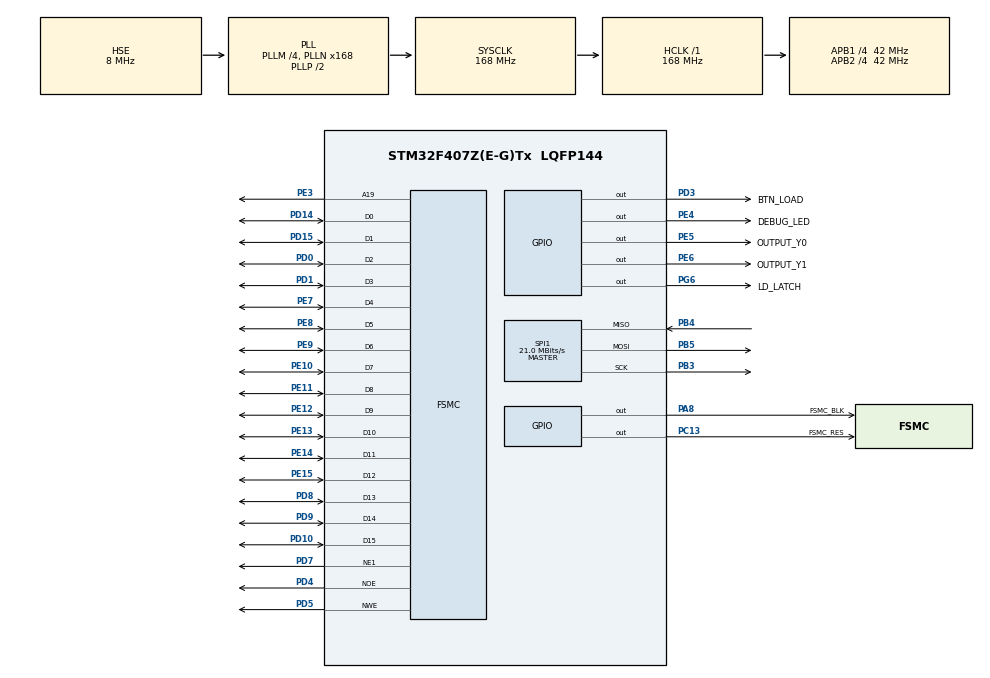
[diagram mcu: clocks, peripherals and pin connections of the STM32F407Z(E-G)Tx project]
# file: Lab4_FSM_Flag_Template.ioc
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FSMC.AddressSetupTime1=0xf
FSMC.BusTurnAroundDuration1=0
FSMC.DataSetupTime1=60
FSMC.ExtendedAddressSetupTime1=9
FSMC.ExtendedBusTurnAroundDuration1=0
FSMC.ExtendedDataSetupTime1=8
FSMC.ExtendedMode1=FSMC_EXTENDED_MODE_ENABLE
Mcu.Family=STM32F4
Mcu.Name=STM32F407Z(E-G)Tx
Mcu.Package=LQFP144
NVIC.PriorityGroup=NVIC_PRIORITYGROUP_4
NVIC.TIM2_IRQn=true\:0\:0\:false\:false\:true\:true\:true\:true
NVIC.TIM4_IRQn=true\:0\:0\:false\:false\:true\:true\:true\:true
PA13.Mode=Serial_Wire
PA13.Signal=SYS_JTMS-SWDIO
PA14.Mode=Serial_Wire
PA14.Signal=SYS_JTCK-SWCLK
PA8.GPIO_Label=FSMC_BLK
PA8.Signal=GPIO_Output
PB3.Mode=Full_Duplex_Master
PB3.Signal=SPI1_SCK
PB4.Mode=Full_Duplex_Master
PB4.Signal=SPI1_MISO
PB5.Mode=Full_Duplex_Master
PB5.Signal=SPI1_MOSI
PC13-ANTI_TAMP.GPIO_Label=FSMC_RES
PC13-ANTI_TAMP.Signal=GPIO_Output
PD0.Signal=FSMC_D2_DA2
PD1.Signal=FSMC_D3_DA3
PD10.Signal=FSMC_D15_DA15
PD14.Signal=FSMC_D0_DA0
PD15.Signal=FSMC_D1_DA1
PD3.GPIO_Label=BTN_LOAD
PD3.Signal=GPIO_Output
PD4.Signal=FSMC_NOE
PD5.Signal=FSMC_NWE
PD7.Mode=NorPsramChipSelect1_1
PD7.Signal=FSMC_NE1
PD8.Signal=FSMC_D13_DA13
PD9.Signal=FSMC_D14_DA14
PE10.Signal=FSMC_D7_DA7
PE11.Signal=FSMC_D8_DA8
PE12.Signal=FSMC_D9_DA9
PE13.Signal=FSMC_D10_DA10
PE14.Signal=FSMC_D11_DA11
PE15.Signal=FSMC_D12_DA12
PE3.Signal=FSMC_A19
PE4.GPIO_Label=DEBUG_LED
PE4.Signal=GPIO_Output
PE5.GPIO_Label=OUTPUT_Y0
PE5.Signal=GPIO_Output
PE6.GPIO_Label=OUTPUT_Y1
PE6.Signal=GPIO_Output
PE7.Signal=FSMC_D4_DA4
PE8.Signal=FSMC_D5_DA5
PE9.Signal=FSMC_D6_DA6
PG6.GPIO_Label=LD_LATCH
PG6.Signal=GPIO_Output
PH0-OSC_IN.Mode=HSE-External-Oscillator
PH0-OSC_IN.Signal=RCC_OSC_IN
PH1-OSC_OUT.Mode=HSE-External-Oscillator
PH1-OSC_OUT.Signal=RCC_OSC_OUT
ProjectManager.HeapSize=0x200
ProjectManager.StackSize=0x400
ProjectManager.TargetToolchain=STM32CubeIDE
RCC.48MHZClocksFreq_Value=84000000
RCC.AHBFreq_Value=168000000
RCC.APB1CLKDivider=RCC_HCLK_DIV4
RCC.APB1Freq_Value=42000000
RCC.APB1TimFreq_Value=84000000
RCC.APB2CLKDivider=RCC_HCLK_DIV4
RCC.APB2Freq_Value=42000000
RCC.APB2TimFreq_Value=84000000
RCC.CortexFreq_Value=168000000
RCC.HCLKFreq_Value=168000000
RCC.HSE_VALUE=8000000
RCC.HSI_VALUE=16000000
RCC.LSE_VALUE=32768
RCC.PLLM=4
RCC.PLLN=168
RCC.PLLSourceVirtual=RCC_PLLSOURCE_HSE
RCC.SYSCLKFreq_VALUE=168000000
RCC.SYSCLKSource=RCC_SYSCLKSOURCE_PLLCLK
RCC.VCOOutputFreq_Value=336000000
SH.FSMC_A19.0=FSMC_A19,A19_1
SH.FSMC_D0_DA0.0=FSMC_D0,16b-d1
SH.FSMC_D10_DA10.0=FSMC_D10,16b-d1
SH.FSMC_D11_DA11.0=FSMC_D11,16b-d1
SH.FSMC_D12_DA12.0=FSMC_D12,16b-d1
SH.FSMC_D13_DA13.0=FSMC_D13,16b-d1
SH.FSMC_D14_DA14.0=FSMC_D14,16b-d1
SH.FSMC_D15_DA15.0=FSMC_D15,16b-d1
SH.FSMC_D1_DA1.0=FSMC_D1,16b-d1
SH.FSMC_D2_DA2.0=FSMC_D2,16b-d1
SH.FSMC_D3_DA3.0=FSMC_D3,16b-d1
SH.FSMC_D4_DA4.0=FSMC_D4,16b-d1
SH.FSMC_D5_DA5.0=FSMC_D5,16b-d1
SH.FSMC_D6_DA6.0=FSMC_D6,16b-d1
SH.FSMC_D7_DA7.0=FSMC_D7,16b-d1
SH.FSMC_D8_DA8.0=FSMC_D8,16b-d1
SH.FSMC_D9_DA9.0=FSMC_D9,16b-d1
SH.FSMC_NOE.0=FSMC_NOE,Lcd1
SH.FSMC_NWE.0=FSMC_NWE,Lcd1
SPI1.CalculateBaudRate=21.0 MBits/s
SPI1.Direction=SPI_DIRECTION_2LINES
SPI1.Mode=SPI_MODE_MASTER
SPI1.VirtualType=VM_MASTER
TIM2.Period=100-1
TIM2.Prescaler=840-1
TIM4.Period=100-1
TIM4.Prescaler=840-1
VP_TIM2_VS_ClockSourceINT.Mode=Internal
VP_TIM4_VS_ClockSourceINT.Mode=Internal
board=custom

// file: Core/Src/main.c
/* USER CODE BEGIN Header */
/**
 ******************************************************************************
 * @file           : main.c
 * @brief          : Main program body
 ******************************************************************************
 * @attention
 *
 * <h2><center>&copy; Copyright (c) 2023 STMicroelectronics.
 * All rights reserved.</center></h2>
 *
 * This software component is licensed by ST under BSD 3-Clause license,
 * the "License"; You may not use this file except in compliance with the
 * License. You may obtain a copy of the License at:
 *                        opensource.org/licenses/BSD-3-Clause
 *
 ******************************************************************************
 */
/* USER CODE END Header */
#include "main.h"
#include "spi.h"
#include "tim.h"
#include "gpio.h"
#include "fsmc.h"

/* USER CODE BEGIN Includes */
#include "software_timer.h"
#include "button.h"
#include "lcd.h"
#include "picture.h"
/* USER CODE END Includes */

/* USER CODE BEGIN PD */
#define	INIT_SYSTEM     0
#define	MOVING_UP       1
#define	MOVING_DOWN     2
#define	STOP_MOVING     3
#define	TOP_POSITION    4
#define	BOTTOM_POSITION 5

#define TOP_POSITION_OF_FLAG 	100
#define BOTTOM_POSITION_OF_FLAG 200
/* USER CODE END PD */

/* USER CODE BEGIN PV */
uint8_t statusFlag = INIT_SYSTEM;
uint16_t flag_position = BOTTOM_POSITION_OF_FLAG;
/* USER CODE END PV */

void SystemClock_Config(void);
/* USER CODE BEGIN PFP */
void init_system();

uint8_t IsButtonUp();
uint8_t IsButtonDown();
uint8_t IsButtonStop();
uint8_t IsBottomSwitch();
uint8_t IsTopSwitch();
void FlagMovingDown();
void FlagMovingUp();
void FlagStopMoving();
void BaiTapFlag();
/* USER CODE END PFP */

int main(void) {

	/* MCU Configuration--------------------------------------------------------*/

	/* Reset of all peripherals, Initializes the Flash interface and the Systick. */
	HAL_Init();

	/* Configure the system clock */
	SystemClock_Config();

	/* Initialize all configured peripherals */
	MX_GPIO_Init();
	MX_TIM2_Init();
	MX_SPI1_Init();
	MX_FSMC_Init();
	MX_TIM4_Init();
	/* USER CODE BEGIN 2 */
	init_system();
	/* USER CODE END 2 */

	/* Infinite loop */
	/* USER CODE BEGIN WHILE */
	while (1) {
		while (timer2_flag == 0)
			;
		timer2_flag = 0;

		// INPUT
		button_scan();

		// PROCESS
		BaiTapFlag();

		// OUTPPUT

		/* USER CODE END WHILE */

	}
}

void SystemClock_Config(void) {
	RCC_OscInitTypeDef RCC_OscInitStruct = { 0 };
	RCC_ClkInitTypeDef RCC_ClkInitStruct = { 0 };

	/** Configure the main internal regulator output voltage
	 */
	__HAL_RCC_PWR_CLK_ENABLE();
	__HAL_PWR_VOLTAGESCALING_CONFIG(PWR_REGULATOR_VOLTAGE_SCALE1);

	/** Initializes the RCC Oscillators according to the specified parameters
	 * in the RCC_OscInitTypeDef structure.
	 */
	RCC_OscInitStruct.OscillatorType = RCC_OSCILLATORTYPE_HSE;
	RCC_OscInitStruct.HSEState = RCC_HSE_ON;
	RCC_OscInitStruct.PLL.PLLState = RCC_PLL_ON;
	RCC_OscInitStruct.PLL.PLLSource = RCC_PLLSOURCE_HSE;
	RCC_OscInitStruct.PLL.PLLM = 4;
	RCC_OscInitStruct.PLL.PLLN = 168;
	RCC_OscInitStruct.PLL.PLLP = RCC_PLLP_DIV2;
	RCC_OscInitStruct.PLL.PLLQ = 4;
	if (HAL_RCC_OscConfig(&RCC_OscInitStruct) != HAL_OK) {
		Error_Handler();
	}

	/** Initializes the CPU, AHB and APB buses clocks
	 */
	RCC_ClkInitStruct.ClockType = RCC_CLOCKTYPE_HCLK | RCC_CLOCKTYPE_SYSCLK
			| RCC_CLOCKTYPE_PCLK1 | RCC_CLOCKTYPE_PCLK2;
	RCC_ClkInitStruct.SYSCLKSource = RCC_SYSCLKSOURCE_PLLCLK;
	RCC_ClkInitStruct.AHBCLKDivider = RCC_SYSCLK_DIV1;
	RCC_ClkInitStruct.APB1CLKDivider = RCC_HCLK_DIV4;
	RCC_ClkInitStruct.APB2CLKDivider = RCC_HCLK_DIV4;

	if (HAL_RCC_ClockConfig(&RCC_ClkInitStruct, FLASH_LATENCY_5) != HAL_OK) {
		Error_Handler();
	}
}

/* USER CODE BEGIN 4 */
void init_system() {
	HAL_GPIO_WritePin(OUTPUT_Y0_GPIO_Port, OUTPUT_Y0_Pin, 0);
	HAL_GPIO_WritePin(OUTPUT_Y1_GPIO_Port, OUTPUT_Y1_Pin, 0);
	HAL_GPIO_WritePin(DEBUG_LED_GPIO_Port, DEBUG_LED_Pin, 0);

	button_init();
	lcd_init();

	timer2_init();
	timer2_set(50);

	HAL_Delay(1000);
}

uint8_t IsButtonUp() {
	if (button_count[3] == 1)
		return 1;
	else
		return 0;
}

uint8_t IsButtonDown() {
	if (button_count[7] == 1)
		return 1;
	else
		return 0;
}

uint8_t IsButtonStop() {
	if (button_count[11] == 1)
		return 1;
	else
		return 0;
}

uint8_t IsBottomSwitch() {
	if (flag_position == BOTTOM_POSITION_OF_FLAG)
		return 1;
	else
		return 0;
}

uint8_t IsTopSwitch() {
	if (flag_position == TOP_POSITION_OF_FLAG)
		return 1;
	else
		return 0;
}

void FlagMovingDown() {
	lcd_draw_line(132, flag_position - 1, 222, flag_position - 1, 0x875c);
	lcd_show_picture(132, flag_position, 90, 58, gImage_l_flag);
	flag_position++;
}

void FlagMovingUp() {
	lcd_draw_line(132, flag_position + 58, 222, flag_position + 58, 0x875c);
	lcd_show_picture(132, flag_position, 90, 58, gImage_l_flag);
	flag_position--;
}

void FlagStopMoving() {
	lcd_show_picture(132, flag_position, 90, 58, gImage_l_flag);
}

void BaiTapFlag() {
	switch (statusFlag) {
	case INIT_SYSTEM:

		break;

	case MOVING_UP:

		break;

	case BOTTOM_POSITION:

		break;

	case MOVING_DOWN:

		break;

	case TOP_POSITION:

		break;

	case STOP_MOVING:

		break;

	default:

		break;
	}
}

/* USER CODE END 4 */

void Error_Handler(void) {
	__disable_irq();
	while (1) {
	}
}
